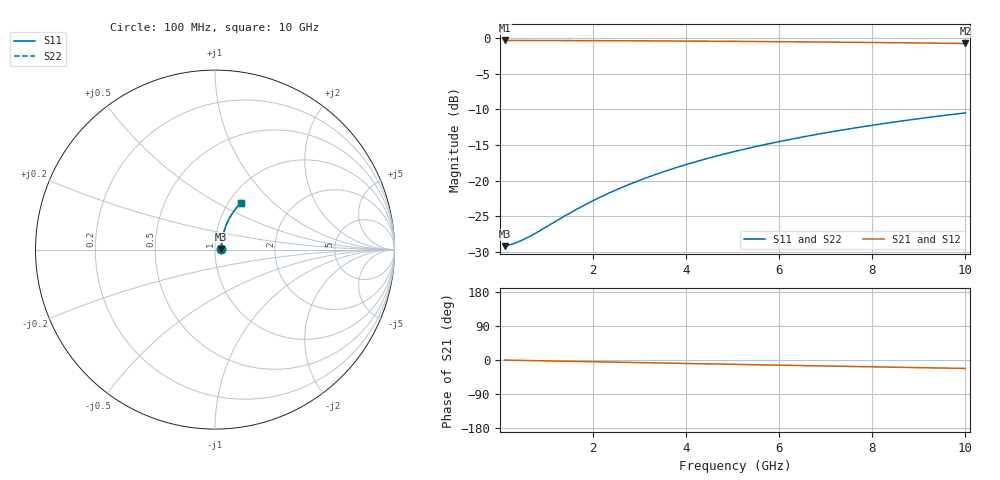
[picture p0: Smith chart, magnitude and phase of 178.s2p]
# Hz S RI R 50.00
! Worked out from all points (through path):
!   100 points, 100 MHz to 10 GHz, reference 50 ohm
!   highest |S21| = -0.31 dB at 100 MHz (marker M1); lowest = -0.7 dB at 10 GHz (marker M2)
!   group delay of S21, straight-line fit = 6.2 ps
!   lowest |S11| = -29.2 dB at 100 MHz (marker M3), VSWR 1.07, Z = 53.6 + j0.323 ohm
!   |S11| at or under -10 dB: start of sweep to end of sweep
!   |S22| runs from -29.2 to -10.5 dB; largest |S21 - S12| = 0
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1e8  0.0345 0.00301  0.9655 -0.00387  0.9655 -0.00387  0.0345 0.00301
2e8  0.0348 0.00602  0.9652 -0.00774  0.9652 -0.00774  0.0348 0.00602
3e8  0.035 0.00902  0.965 -0.0116  0.965 -0.0116  0.035 0.00902
4e8  0.0352 0.012  0.9648 -0.0155  0.9648 -0.0155  0.0352 0.012
6e8  0.0357 0.018  0.9643 -0.0232  0.9643 -0.0232  0.0357 0.018
8e8  0.0362 0.024  0.9638 -0.0309  0.9638 -0.0309  0.0362 0.024
1.5e9  0.0385 0.0449  0.9614 -0.0578  0.9614 -0.0578  0.0385 0.0449
1.8e9  0.0399 0.0538  0.96 -0.0693  0.96 -0.0693  0.0399 0.0538
2.2e9  0.0419 0.0655  0.9579 -0.0845  0.9579 -0.0845  0.0419 0.0655
2.6e9  0.0443 0.0772  0.9554 -0.0997  0.9554 -0.0997  0.0443 0.0772
3e9  0.0471 0.0888  0.9525 -0.1147  0.9525 -0.1147  0.0471 0.0888
3.4e9  0.0502 0.1003  0.9493 -0.1296  0.9493 -0.1296  0.0502 0.1003
3.8e9  0.0537 0.1116  0.9457 -0.1444  0.9457 -0.1444  0.0537 0.1116
4.2e9  0.0575 0.1228  0.9418 -0.159  0.9418 -0.159  0.0575 0.1228
4.6e9  0.0617 0.1338  0.9375 -0.1735  0.9375 -0.1735  0.0617 0.1338
5.1e9  0.0673 0.1473  0.9317 -0.1914  0.9317 -0.1914  0.0673 0.1473
5.9e9  0.0773 0.1684  0.9213 -0.2193  0.9213 -0.2193  0.0773 0.1684
6.7e9  0.0885 0.1885  0.9097 -0.2465  0.9097 -0.2465  0.0885 0.1885
7.5e9  0.1009 0.2078  0.897 -0.2727  0.897 -0.2727  0.1009 0.2078
8.4e9  0.1159 0.2283  0.8814 -0.3011  0.8814 -0.3011  0.1159 0.2283
9.2e9  0.1302 0.2454  0.8665 -0.3252  0.8665 -0.3252  0.1302 0.2454
1e10  0.1454 0.2615  0.8507 -0.3482  0.8507 -0.3482  0.1454 0.2615
